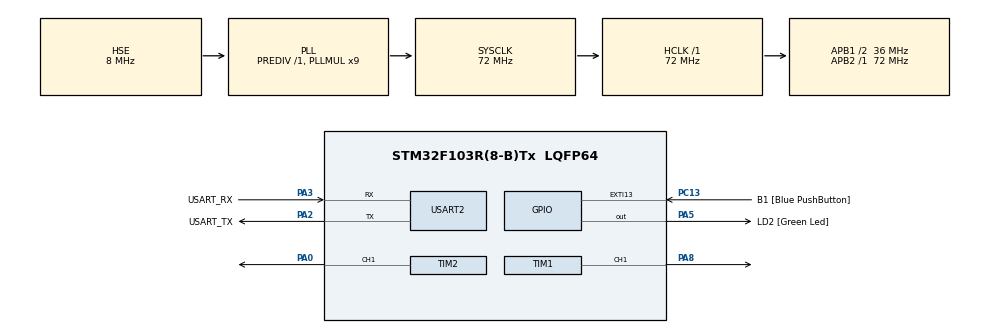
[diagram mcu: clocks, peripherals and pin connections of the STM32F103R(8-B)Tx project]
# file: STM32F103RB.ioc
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IWDG.Prescaler=IWDG_PRESCALER_32
Mcu.Family=STM32F1
Mcu.Name=STM32F103R(8-B)Tx
Mcu.Package=LQFP64
NVIC.EXTI15_10_IRQn=true\:0\:0\:false\:false\:true\:true\:true
NVIC.PriorityGroup=NVIC_PRIORITYGROUP_4
PA0-WKUP.Signal=S_TIM2_CH1_ETR
PA13.GPIO_Label=TMS
PA13.Mode=Serial_Wire
PA13.Signal=SYS_JTMS-SWDIO
PA14.GPIO_Label=TCK
PA14.Mode=Serial_Wire
PA14.Signal=SYS_JTCK-SWCLK
PA2.GPIO_Label=USART_TX
PA2.GPIO_Mode=GPIO_MODE_AF_PP
PA2.GPIO_PuPd=GPIO_NOPULL
PA2.GPIO_Speed=GPIO_SPEED_FREQ_LOW
PA2.Mode=Asynchronous
PA2.Signal=USART2_TX
PA3.GPIO_Label=USART_RX
PA3.GPIO_Mode=GPIO_MODE_AF_PP
PA3.GPIO_PuPd=GPIO_NOPULL
PA3.GPIO_Speed=GPIO_SPEED_FREQ_LOW
PA3.Mode=Asynchronous
PA3.Signal=USART2_RX
PA5.GPIO_Label=LD2 [Green Led]
PA5.GPIO_ModeDefaultOutputPP=GPIO_MODE_OUTPUT_PP
PA5.GPIO_PuPd=GPIO_NOPULL
PA5.GPIO_Speed=GPIO_SPEED_FREQ_LOW
PA5.Signal=GPIO_Output
PA8.Signal=S_TIM1_CH1
PC13-TAMPER-RTC.GPIO_Label=B1 [Blue PushButton]
PC13-TAMPER-RTC.GPIO_PuPd=GPIO_NOPULL
PC13-TAMPER-RTC.Signal=GPXTI13
PC14-OSC32_IN.Mode=LSE-External-Oscillator
PC14-OSC32_IN.Signal=RCC_OSC32_IN
PC15-OSC32_OUT.Mode=LSE-External-Oscillator
PC15-OSC32_OUT.Signal=RCC_OSC32_OUT
PD0-OSC_IN.Mode=HSE-External-Clock-Source
PD0-OSC_IN.Signal=RCC_OSC_IN
PD1-OSC_OUT.Mode=HSE-External-Clock-Source
PD1-OSC_OUT.Signal=RCC_OSC_OUT
ProjectManager.HeapSize=0x200
ProjectManager.StackSize=0x400
ProjectManager.TargetToolchain=MDK-ARM V5
RCC.AHBFreq_Value=72000000
RCC.APB1CLKDivider=RCC_HCLK_DIV2
RCC.APB1Freq_Value=36000000
RCC.APB1TimFreq_Value=72000000
RCC.APB2Freq_Value=72000000
RCC.APB2TimFreq_Value=72000000
RCC.HCLKFreq_Value=72000000
RCC.PLLMUL=RCC_PLL_MUL9
RCC.PLLSourceVirtual=RCC_PLLSOURCE_HSE
RCC.RTCClockSelection=RCC_RTCCLKSOURCE_LSE
RCC.SYSCLKFreq_VALUE=72000000
RCC.SYSCLKSource=RCC_SYSCLKSOURCE_PLLCLK
RCC.USBFreq_Value=72000000
SH.S_TIM1_CH1.0=TIM1_CH1,PWM Generation1 CH1
SH.S_TIM2_CH1_ETR.0=TIM2_CH1,PWM Generation1 CH1
TIM1.Channel-PWM\ Generation1\ CH1=TIM_CHANNEL_1
TIM1.Period=282
TIM1.Prescaler=256
TIM2.Channel-PWM\ Generation1\ CH1=TIM_CHANNEL_1
TIM2.Period=282
TIM2.Prescaler=256
USART2.VirtualMode=VM_ASYNC
VP_IWDG_VS_IWDG.Mode=IWDG_Activate
board=NUCLEO-F103RB

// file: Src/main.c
/**
  ******************************************************************************
  * @file           : main.c
  * @brief          : Main program body
  ******************************************************************************
  ** This notice applies to any and all portions of this file
  * that are not between comment pairs USER CODE BEGIN and
  * USER CODE END. Other portions of this file, whether
  * inserted by the user or by software development tools
  * are owned by their respective copyright owners.
  *
  * COPYRIGHT(c) 2018 STMicroelectronics
  *
  * Redistribution and use in source and binary forms, with or without modification,
  * are permitted provided that the following conditions are met:
  *   1. Redistributions of source code must retain the above copyright notice,
  *      this list of conditions and the following disclaimer.
  *   2. Redistributions in binary form must reproduce the above copyright notice,
  *      this list of conditions and the following disclaimer in the documentation
  *      and/or other materials provided with the distribution.
  *   3. Neither the name of STMicroelectronics nor the names of its contributors
  *      may be used to endorse or promote products derived from this software
  *      without specific prior written permission.
  *
  * THIS SOFTWARE IS PROVIDED BY THE COPYRIGHT HOLDERS AND CONTRIBUTORS "AS IS"
  * AND ANY EXPRESS OR IMPLIED WARRANTIES, INCLUDING, BUT NOT LIMITED TO, THE
  * IMPLIED WARRANTIES OF MERCHANTABILITY AND FITNESS FOR A PARTICULAR PURPOSE ARE
  * DISCLAIMED. IN NO EVENT SHALL THE COPYRIGHT HOLDER OR CONTRIBUTORS BE LIABLE
  * FOR ANY DIRECT, INDIRECT, INCIDENTAL, SPECIAL, EXEMPLARY, OR CONSEQUENTIAL
  * DAMAGES (INCLUDING, BUT NOT LIMITED TO, PROCUREMENT OF SUBSTITUTE GOODS OR
  * SERVICES; LOSS OF USE, DATA, OR PROFITS; OR BUSINESS INTERRUPTION) HOWEVER
  * CAUSED AND ON ANY THEORY OF LIABILITY, WHETHER IN CONTRACT, STRICT LIABILITY,
  * OR TORT (INCLUDING NEGLIGENCE OR OTHERWISE) ARISING IN ANY WAY OUT OF THE USE
  * OF THIS SOFTWARE, EVEN IF ADVISED OF THE POSSIBILITY OF SUCH DAMAGE.
  *
  ******************************************************************************
  */
#include "main.h"
#include "stm32f1xx_hal.h"

/* USER CODE BEGIN Includes */
#define GREEN_LED_PORT  GPIOA                //WRITTEN BY VINCENT
#define GREEN_LED_PIN   GPIO_PIN_5	         //WRITTEN BY VINCENT
#define BUTTON_PORT     GPIOC								 //WRITTEN BY VINCENT
#define BUTTON_PIN      GPIO_PIN_13					 //WRITTEN BY VINCENT
#include "stdbool.h"   //WRITTEN BY VINCENT => We want to use BOOLEAN TYPE

/* USER CODE END Includes */

IWDG_HandleTypeDef hiwdg;

TIM_HandleTypeDef htim1;
TIM_HandleTypeDef htim2;

UART_HandleTypeDef huart2;

/* USER CODE BEGIN PV */
/* Private variables ---------------------------------------------------------*/
bool flag = false;                           //WRITTEN BY VINCENT
int timer_counter = 0;											 //WRITTEN BY VINCENT
uint8_t MESSAGE[1];                          //WRITTEN BY VINCENT , MESSAGE LENGTH LIMITED AS 1
uint8_t START[7] = "START\n\r"; 						 //WRITTEN BY VINCENT
/* USER CODE END PV */

void SystemClock_Config(void);
static void MX_GPIO_Init(void);
static void MX_USART2_UART_Init(void);
static void MX_TIM1_Init(void);
static void MX_TIM2_Init(void);
static void MX_IWDG_Init(void);

void HAL_TIM_MspPostInit(TIM_HandleTypeDef *htim);

/* USER CODE BEGIN PFP */
/* Private function prototypes -----------------------------------------------*/

/* USER CODE END PFP */

int main(void)
{

  /* MCU Configuration----------------------------------------------------------*/

  /* Reset of all peripherals, Initializes the Flash interface and the Systick. */
  HAL_Init();

  /* Configure the system clock */
  SystemClock_Config();

  /* Initialize all configured peripherals */
  MX_GPIO_Init();
  MX_USART2_UART_Init();
  MX_TIM1_Init();
  MX_TIM2_Init();
  MX_IWDG_Init();
  /* USER CODE BEGIN 2 */

  //*******************WRITTEN BY VINCENT********************************//
  /*
	  If you have some default setup, it is good to write here since this part
		is not included in the while(1) loop and all peripherals are initialized.
	*/
	HAL_TIM_Base_Start_IT(&htim2);   //TIMER INTERRUPT ENABLE
	HAL_GPIO_WritePin(GREEN_LED_PORT,GREEN_LED_PIN,GPIO_PIN_RESET); //Default ON BOARD LED IS OFF
	HAL_UART_Transmit(&huart2, START ,sizeof(START),100);           //SEND SOME TEXT SO YOU KNOW YOUR PROGRAM IS STARTED
 //*******************WRITTEN BY VINCENT********************************//

  /* USER CODE END 2 */

  /* Infinite loop */
  /* USER CODE BEGIN WHILE */
  while (1)
  {

  //*******************WRITTEN BY VINCENT********************************//
  if (flag == true)
	{
		HAL_GPIO_TogglePin(GREEN_LED_PORT,GREEN_LED_PIN);   //THE LED WILL CHANGE STATE EVERY SECOND
		flag = false; //RESET THE FLAG
	}
	HAL_IWDG_Refresh(&hiwdg);    //Refresh Watchdog

	/*ABOUT IWWDG

	Prescalar divider:   PR:
	/4									 0
	/8                   1
	/16								   2
	/32									 3
	/64									 4
	/128								 5
	/256								 6

	You must refresh watchdog in T seconds

	where T = ( 4 x Prescalar_divider x 2^PR) / (LSI clocker frequency)

	**LSI = Low speed internal = 40kHz
	*/

	//*******************WRITTEN BY VINCENT********************************//

  /* USER CODE END WHILE */

  }

}

void SystemClock_Config(void)
{

  RCC_OscInitTypeDef RCC_OscInitStruct;
  RCC_ClkInitTypeDef RCC_ClkInitStruct;

    /**Initializes the CPU, AHB and APB busses clocks
    */
  RCC_OscInitStruct.OscillatorType = RCC_OSCILLATORTYPE_LSI|RCC_OSCILLATORTYPE_HSE;
  RCC_OscInitStruct.HSEState = RCC_HSE_BYPASS;
  RCC_OscInitStruct.HSEPredivValue = RCC_HSE_PREDIV_DIV1;
  RCC_OscInitStruct.HSIState = RCC_HSI_ON;
  RCC_OscInitStruct.LSIState = RCC_LSI_ON;
  RCC_OscInitStruct.PLL.PLLState = RCC_PLL_ON;
  RCC_OscInitStruct.PLL.PLLSource = RCC_PLLSOURCE_HSE;
  RCC_OscInitStruct.PLL.PLLMUL = RCC_PLL_MUL9;
  if (HAL_RCC_OscConfig(&RCC_OscInitStruct) != HAL_OK)
  {
    _Error_Handler(__FILE__, __LINE__);
  }

    /**Initializes the CPU, AHB and APB busses clocks
    */
  RCC_ClkInitStruct.ClockType = RCC_CLOCKTYPE_HCLK|RCC_CLOCKTYPE_SYSCLK
                              |RCC_CLOCKTYPE_PCLK1|RCC_CLOCKTYPE_PCLK2;
  RCC_ClkInitStruct.SYSCLKSource = RCC_SYSCLKSOURCE_PLLCLK;
  RCC_ClkInitStruct.AHBCLKDivider = RCC_SYSCLK_DIV1;
  RCC_ClkInitStruct.APB1CLKDivider = RCC_HCLK_DIV2;
  RCC_ClkInitStruct.APB2CLKDivider = RCC_HCLK_DIV1;

  if (HAL_RCC_ClockConfig(&RCC_ClkInitStruct, FLASH_LATENCY_2) != HAL_OK)
  {
    _Error_Handler(__FILE__, __LINE__);
  }

    /**Configure the Systick interrupt time
    */
  HAL_SYSTICK_Config(HAL_RCC_GetHCLKFreq()/1000);

    /**Configure the Systick
    */
  HAL_SYSTICK_CLKSourceConfig(SYSTICK_CLKSOURCE_HCLK);

  /* SysTick_IRQn interrupt configuration */
  HAL_NVIC_SetPriority(SysTick_IRQn, 0, 0);
}

/* IWDG init function */
static void MX_IWDG_Init(void)
{

  hiwdg.Instance = IWDG;
  hiwdg.Init.Prescaler = IWDG_PRESCALER_32;
  hiwdg.Init.Reload = 4095;
  if (HAL_IWDG_Init(&hiwdg) != HAL_OK)
  {
    _Error_Handler(__FILE__, __LINE__);
  }

}

/* TIM1 init function */
static void MX_TIM1_Init(void)
{

  TIM_MasterConfigTypeDef sMasterConfig;
  TIM_OC_InitTypeDef sConfigOC;
  TIM_BreakDeadTimeConfigTypeDef sBreakDeadTimeConfig;

  htim1.Instance = TIM1;
  htim1.Init.Prescaler = 256;
  htim1.Init.CounterMode = TIM_COUNTERMODE_UP;
  htim1.Init.Period = 282;
  htim1.Init.ClockDivision = TIM_CLOCKDIVISION_DIV1;
  htim1.Init.RepetitionCounter = 0;
  htim1.Init.AutoReloadPreload = TIM_AUTORELOAD_PRELOAD_DISABLE;
  if (HAL_TIM_PWM_Init(&htim1) != HAL_OK)
  {
    _Error_Handler(__FILE__, __LINE__);
  }

  sMasterConfig.MasterOutputTrigger = TIM_TRGO_RESET;
  sMasterConfig.MasterSlaveMode = TIM_MASTERSLAVEMODE_DISABLE;
  if (HAL_TIMEx_MasterConfigSynchronization(&htim1, &sMasterConfig) != HAL_OK)
  {
    _Error_Handler(__FILE__, __LINE__);
  }

  sConfigOC.OCMode = TIM_OCMODE_PWM1;
  sConfigOC.Pulse = 0;
  sConfigOC.OCPolarity = TIM_OCPOLARITY_HIGH;
  sConfigOC.OCNPolarity = TIM_OCNPOLARITY_HIGH;
  sConfigOC.OCFastMode = TIM_OCFAST_DISABLE;
  sConfigOC.OCIdleState = TIM_OCIDLESTATE_RESET;
  sConfigOC.OCNIdleState = TIM_OCNIDLESTATE_RESET;
  if (HAL_TIM_PWM_ConfigChannel(&htim1, &sConfigOC, TIM_CHANNEL_1) != HAL_OK)
  {
    _Error_Handler(__FILE__, __LINE__);
  }

  sBreakDeadTimeConfig.OffStateRunMode = TIM_OSSR_DISABLE;
  sBreakDeadTimeConfig.OffStateIDLEMode = TIM_OSSI_DISABLE;
  sBreakDeadTimeConfig.LockLevel = TIM_LOCKLEVEL_OFF;
  sBreakDeadTimeConfig.DeadTime = 0;
  sBreakDeadTimeConfig.BreakState = TIM_BREAK_DISABLE;
  sBreakDeadTimeConfig.BreakPolarity = TIM_BREAKPOLARITY_HIGH;
  sBreakDeadTimeConfig.AutomaticOutput = TIM_AUTOMATICOUTPUT_DISABLE;
  if (HAL_TIMEx_ConfigBreakDeadTime(&htim1, &sBreakDeadTimeConfig) != HAL_OK)
  {
    _Error_Handler(__FILE__, __LINE__);
  }

  HAL_TIM_MspPostInit(&htim1);

}

/* TIM2 init function */
static void MX_TIM2_Init(void)
{

  TIM_MasterConfigTypeDef sMasterConfig;
  TIM_OC_InitTypeDef sConfigOC;

  htim2.Instance = TIM2;
  htim2.Init.Prescaler = 256;
  htim2.Init.CounterMode = TIM_COUNTERMODE_UP;
  htim2.Init.Period = 282;
  htim2.Init.ClockDivision = TIM_CLOCKDIVISION_DIV1;
  htim2.Init.AutoReloadPreload = TIM_AUTORELOAD_PRELOAD_DISABLE;
  if (HAL_TIM_PWM_Init(&htim2) != HAL_OK)
  {
    _Error_Handler(__FILE__, __LINE__);
  }

  sMasterConfig.MasterOutputTrigger = TIM_TRGO_RESET;
  sMasterConfig.MasterSlaveMode = TIM_MASTERSLAVEMODE_DISABLE;
  if (HAL_TIMEx_MasterConfigSynchronization(&htim2, &sMasterConfig) != HAL_OK)
  {
    _Error_Handler(__FILE__, __LINE__);
  }

  sConfigOC.OCMode = TIM_OCMODE_PWM1;
  sConfigOC.Pulse = 0;
  sConfigOC.OCPolarity = TIM_OCPOLARITY_HIGH;
  sConfigOC.OCFastMode = TIM_OCFAST_DISABLE;
  if (HAL_TIM_PWM_ConfigChannel(&htim2, &sConfigOC, TIM_CHANNEL_1) != HAL_OK)
  {
    _Error_Handler(__FILE__, __LINE__);
  }

  HAL_TIM_MspPostInit(&htim2);

}

/* USART2 init function */
static void MX_USART2_UART_Init(void)
{

  huart2.Instance = USART2;
  huart2.Init.BaudRate = 115200;
  huart2.Init.WordLength = UART_WORDLENGTH_8B;
  huart2.Init.StopBits = UART_STOPBITS_1;
  huart2.Init.Parity = UART_PARITY_NONE;
  huart2.Init.Mode = UART_MODE_TX_RX;
  huart2.Init.HwFlowCtl = UART_HWCONTROL_NONE;
  huart2.Init.OverSampling = UART_OVERSAMPLING_16;
  if (HAL_UART_Init(&huart2) != HAL_OK)
  {
    _Error_Handler(__FILE__, __LINE__);
  }

}

/** Configure pins as
        * Analog
        * Input
        * Output
        * EVENT_OUT
        * EXTI
*/
static void MX_GPIO_Init(void)
{

  GPIO_InitTypeDef GPIO_InitStruct;

  /* GPIO Ports Clock Enable */
  __HAL_RCC_GPIOC_CLK_ENABLE();
  __HAL_RCC_GPIOD_CLK_ENABLE();
  __HAL_RCC_GPIOA_CLK_ENABLE();

  /*Configure GPIO pin Output Level */
  HAL_GPIO_WritePin(LD2_GPIO_Port, LD2_Pin, GPIO_PIN_RESET);

  /*Configure GPIO pin : B1_Pin */
  GPIO_InitStruct.Pin = B1_Pin;
  GPIO_InitStruct.Mode = GPIO_MODE_IT_RISING;
  GPIO_InitStruct.Pull = GPIO_NOPULL;
  HAL_GPIO_Init(B1_GPIO_Port, &GPIO_InitStruct);

  /*Configure GPIO pin : LD2_Pin */
  GPIO_InitStruct.Pin = LD2_Pin;
  GPIO_InitStruct.Mode = GPIO_MODE_OUTPUT_PP;
  GPIO_InitStruct.Speed = GPIO_SPEED_FREQ_LOW;
  HAL_GPIO_Init(LD2_GPIO_Port, &GPIO_InitStruct);

  /* EXTI interrupt init*/
  HAL_NVIC_SetPriority(EXTI15_10_IRQn, 0, 0);
  HAL_NVIC_EnableIRQ(EXTI15_10_IRQn);

}

/* USER CODE BEGIN 4 */
void HAL_TIM_PeriodElapsedCallback(TIM_HandleTypeDef *htim)
{
	if(htim == &htim2)
	{
	  timer_counter++;  //  Interval = 0.001 second
		if (timer_counter == 1000)
		{
			flag = true;
			timer_counter = 0; //RESET timer_counter to recount again
		}

	}
}
/* USER CODE END 4 */

void _Error_Handler(char *file, int line)
{
  while(1)
  {
  }
}

/************************ (C) COPYRIGHT STMicroelectronics *****END OF FILE****/
